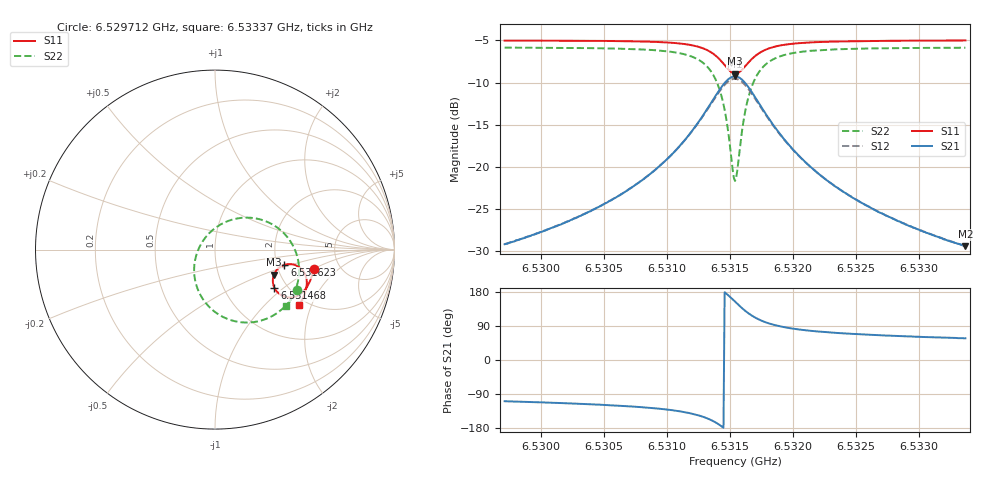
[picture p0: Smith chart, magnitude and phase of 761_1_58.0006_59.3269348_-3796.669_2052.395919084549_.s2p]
#  HZ  S  RI  R  50.00
! Rohde & Schwarz Vector Network Analyzer
! Rohde-Schwarz,ZNB20-2Port,1311601062101988,3.16
! Created: UTC 3/21/2024, 1:24:24 AM
! freq[Hz]  re:S11  im:S11  re:S21  im:S21  re:S12  im:S12  re:S22  im:S22
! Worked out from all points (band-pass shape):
!   401 points, 6.529712 GHz to 6.53337 GHz, reference 50 ohm
!   highest |S21| = -9.27 dB at 6.531541 GHz (marker M1); lowest = -29.4 dB at 6.53337 GHz (marker M2)
!   |S21| within 3 dB of the highest: 6.531357 GHz to 6.531723 GHz (366.4 kHz wide, 0.00561 % of centre)
!   lowest |S11| = -8.9 dB at 6.531541 GHz (marker M3), VSWR 2.11, Z = 92.6 - j29.8 ohm
!   |S11| at or under -10 dB: nowhere
!   |S22| runs from -21.6 to -5.9 dB; largest |S21 - S12| = 0.015
!   S11 on the Smith chart (normalised r, x): 6.529712 GHz: 3.21, -1.00; 6.531468 GHz: 1.71, -0.87; 6.531623 GHz: 2.20, -0.44; 6.53337 GHz: 1.81, -1.64
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6.5297116e9  0.5499 -0.107  -0.0113 -0.033  -0.0119 -0.0328  0.4561 -0.2264
6.5303243e9  0.5357 -0.1588  -0.0226 -0.0466  -0.0237 -0.0462  0.4187 -0.2844
6.5306445e9  0.5229 -0.1894  -0.0358 -0.0594  -0.0375 -0.0586  0.3839 -0.3227
6.5309371e9  0.5022 -0.2226  -0.0627 -0.0787  -0.065 -0.0768  0.3238 -0.3673
6.5311475e9  0.4711 -0.2506  -0.1086 -0.0976  -0.1116 -0.0934  0.2316 -0.4013
6.5313121e9  0.4174 -0.2665  -0.1921 -0.0981  -0.194 -0.0896  0.0803 -0.3902
6.5314036e9  0.3665 -0.2525  -0.2701 -0.0569  -0.267 -0.0453  -0.0455 -0.3047
6.5314402e9  0.3447 -0.234  -0.3015 -0.0188  -0.295 -0.00707  -0.0904 -0.2346
6.5314676e9  0.3313 -0.2136  -0.3193 0.0201  -0.3099 0.0309  -0.1117 -0.1661
6.5315225e9  0.3232 -0.1593  -0.3216 0.1173  -0.3081 0.1224  -0.0958 -0.00643
6.5315408e9  0.3282 -0.1404  -0.3095 0.1499  -0.2958 0.1527  -0.0699 0.0444
6.5315591e9  0.337 -0.123  -0.2914 0.1797  -0.2778 0.18  -0.0345 0.0891
6.5315956e9  0.3633 -0.0962  -0.2413 0.2242  -0.2305 0.2208  0.0551 0.1521
6.5316231e9  0.3868 -0.085  -0.1992 0.2421  -0.1907 0.2376  0.1277 0.1742
6.5316597e9  0.4171 -0.0806  -0.146 0.2487  -0.1403 0.2437  0.217 0.1755
6.5316962e9  0.4429 -0.085  -0.1016 0.2414  -0.098 0.2371  0.2899 0.155
6.531806e9  0.4886 -0.1165  -0.024 0.1938  -0.0224 0.1917  0.4131 0.0564
6.5319432e9  0.5078 -0.1544  0.01 0.1419  0.0114 0.141  0.4602 -0.0462
6.5321536e9  0.5113 -0.195  0.0228 0.0955  0.0238 0.0952  0.4675 -0.1406
6.5324645e9  0.5035 -0.2348  0.0237 0.0622  0.0249 0.0619  0.4518 -0.2155
6.5327663e9  0.4928 -0.2635  0.0219 0.0455  0.0228 0.0452  0.4334 -0.2594
6.53337e9  0.468 -0.3101  0.0183 0.0286  0.019 0.0283  0.3978 -0.3167
